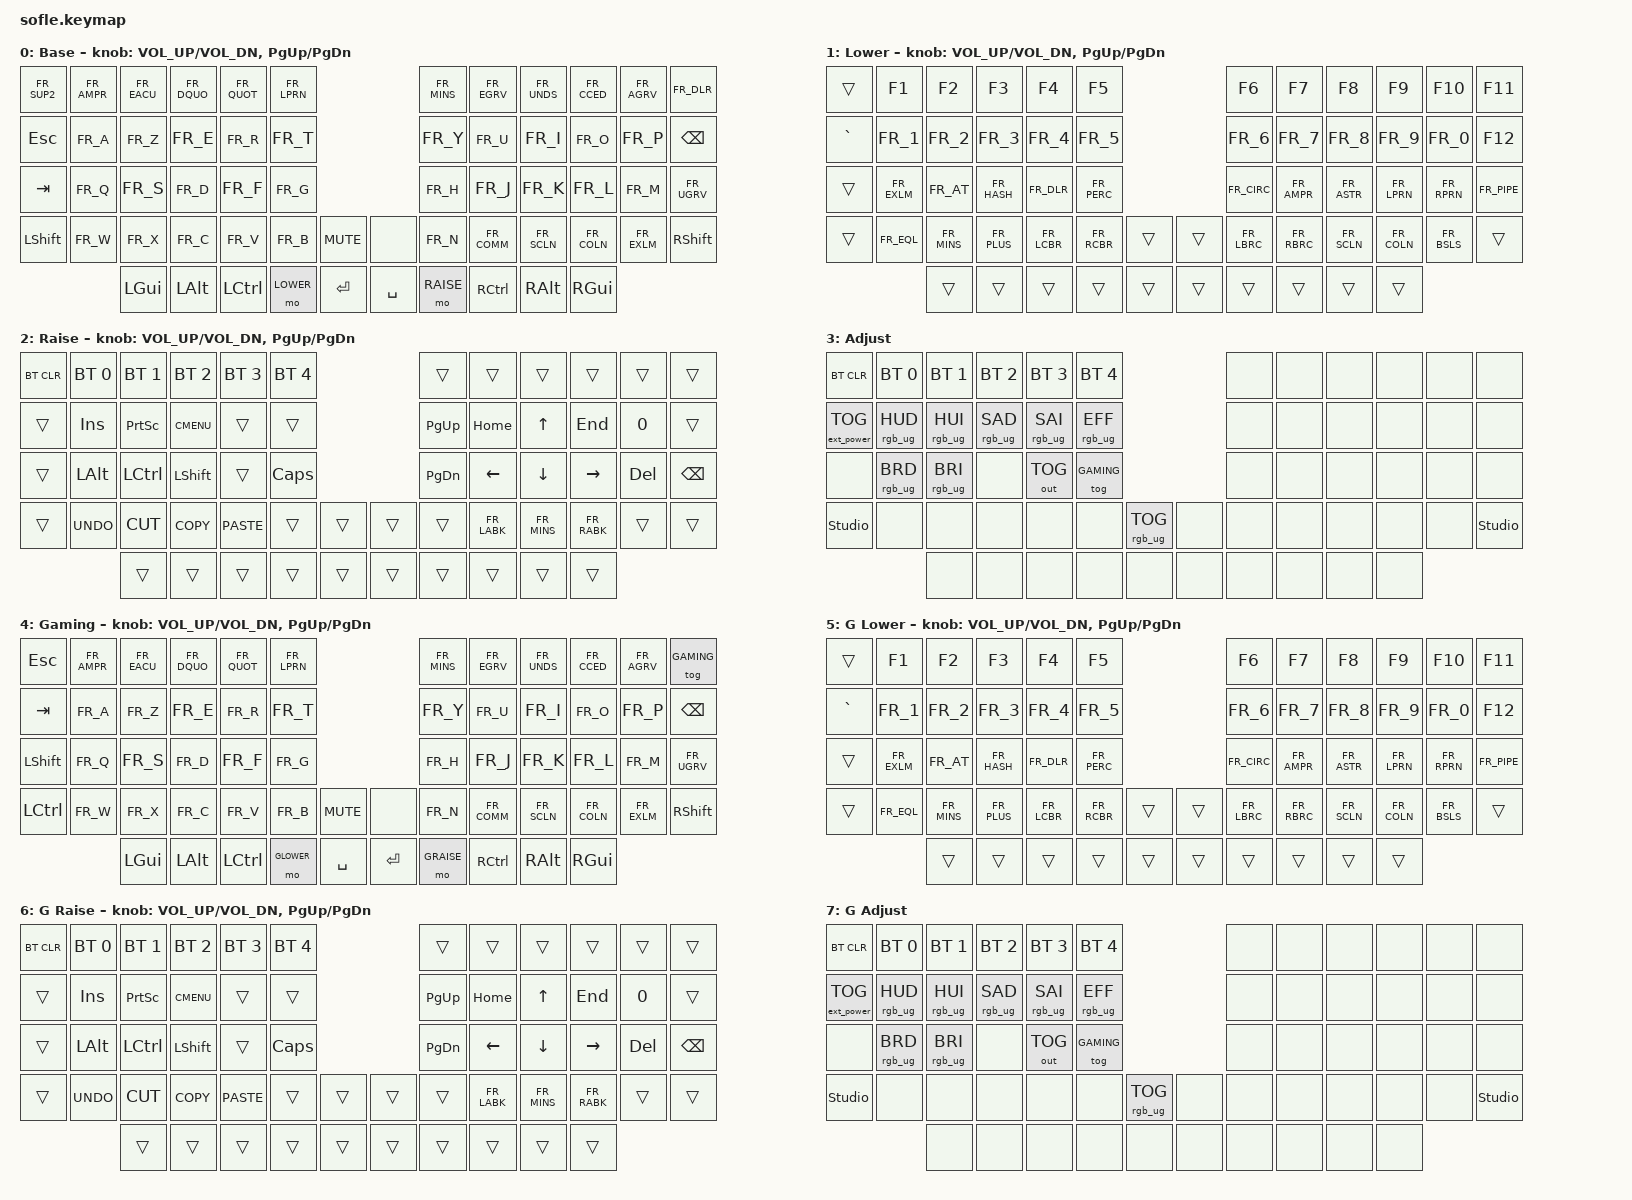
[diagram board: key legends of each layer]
/*
 * Copyright (c) 2020 The ZMK Contributors
 *
 * SPDX-License-Identifier: MIT
 */

#include <behaviors.dtsi>
#include <dt-bindings/zmk/bt.h>
#include <dt-bindings/zmk/ext_power.h>
#include <dt-bindings/zmk/keys.h>
#include <dt-bindings/zmk/rgb.h>
#include <dt-bindings/zmk/outputs.h>

#include "keys_fr.h"

#define BASE 0
#define LOWER 1
#define RAISE 2
#define ADJUST 3
#define GAMING 4
#define GLOWER 5
#define GRAISE 6
#define GADJUST 7

/ {
    // Activate ADJUST layer by pressing raise and lower

    conditional_layers {
        compatible = "zmk,conditional-layers";

        adjust_layer {
            if-layers = <LOWER RAISE>;
            then-layer = <ADJUST>;
        };

        adjust_gaming {
            if-layers = <GLOWER GRAISE>;
            then-layer = <GADJUST>;
        };
    };



    keymap {
        compatible = "zmk,keymap";

        default_layer {
            display-name = "Base";

            // ------------------------------------------------------------------------------------------------------------
            // |   `   |  1  |  2  |  3   |  4   |  5   |                   |  6   |  7    |  8    |  9   |   0   |       |
            // |  ESC  |  A  |  Z  |  E   |  R   |  T   |                   |  Y   |  U    |  I    |  O   |   P   | BKSPC |
            // |  TAB  |  Q  |  S  |  D   |  F   |  G   |                   |  H   |  J    |  K    |  L   |   M   |   '   |
            // | SHIFT |  W  |  X  |  C   |  V   |  B   |  MUTE  |  |       |  N   |  ,    |  ;    |  :   |   !   | SHIFT |
            //               | GUI | ALT  | CTRL | LOWER|  ENTER |  | SPACE | RAISE| CTRL  | ALT   | GUI  |

            bindings = <
&kp FR_SUP2  &kp FR_AMPR  &kp FR_EACU    &kp FR_DQUO    &kp FR_QUOT   &kp FR_LPRN                            &kp FR_MINS  &kp FR_EGRV  &kp FR_UNDS   &kp FR_CCED   &kp FR_AGRV   &kp FR_DLR
&kp ESC      &kp FR_A     &kp FR_Z       &kp FR_E       &kp FR_R      &kp FR_T                               &kp FR_Y     &kp FR_U     &kp FR_I      &kp FR_O      &kp FR_P      &kp BSPC
&kp TAB      &kp FR_Q     &kp FR_S       &kp FR_D       &kp FR_F      &kp FR_G                               &kp FR_H     &kp FR_J     &kp FR_K      &kp FR_L      &kp FR_M      &kp FR_UGRV
&kp LSHFT    &kp FR_W     &kp FR_X       &kp FR_C       &kp FR_V      &kp FR_B      &kp C_MUTE    &none      &kp FR_N     &kp FR_COMM  &kp FR_SCLN   &kp FR_COLN   &kp FR_EXLM   &kp RSHFT
                          &kp LGUI       &kp LALT       &kp LCTRL     &mo LOWER     &kp RET       &kp SPACE  &mo RAISE    &kp RCTRL    &kp RALT      &kp RGUI
            >;

            sensor-bindings = <&inc_dec_kp C_VOL_UP C_VOL_DN &inc_dec_kp PG_UP PG_DN>;
        };

        lower_layer {
            display-name = "Lower";

            // TODO: Some binds are waiting for shifted keycode support.
            // ------------------------------------------------------------------------------------------------------------
            // |       |  F1 |  F2 |  F3  |  F4  |  F5  |                   |  F6  |  F7   |  F8   |  F9  |  F10  |  F11  |
            // |   `   |  1  |  2  |  3   |  4   |  5   |                   |  6   |  7    |  8    |  9   |   0   |  F12  |
            // |       |  !  |  @  |  #   |  $   |  %   |                   |  ^   |  &    |  *    |  (   |   )   |   |   |
            // |       |  =  |  -  |  +   |  {   |  }   |        |  |       |  [   |  ]    |  ;    |  :   |   \   |       |
            //               |     |      |      |      |        |  |       |      |       |       |      |

            bindings = <
&trans      &kp F1       &kp F2       &kp F3       &kp F4       &kp F5                            &kp F6       &kp F7       &kp F8        &kp F9       &kp F10      &kp F11
&kp GRAVE   &kp FR_1     &kp FR_2     &kp FR_3     &kp FR_4     &kp FR_5                          &kp FR_6     &kp FR_7     &kp FR_8      &kp FR_9     &kp FR_0     &kp F12
&trans      &kp FR_EXLM  &kp FR_AT    &kp FR_HASH  &kp FR_DLR   &kp FR_PERC                       &kp FR_CIRC  &kp FR_AMPR  &kp FR_ASTR  &kp FR_LPRN  &kp FR_RPRN  &kp FR_PIPE
&trans      &kp FR_EQL   &kp FR_MINS  &kp FR_PLUS  &kp FR_LCBR  &kp FR_RCBR   &trans    &trans    &kp FR_LBRC  &kp FR_RBRC  &kp FR_SCLN   &kp FR_COLN  &kp FR_BSLS  &trans
                         &trans       &trans       &trans       &trans        &trans    &trans    &trans     &trans    &trans     &trans
            >;

            sensor-bindings = <&inc_dec_kp C_VOL_UP C_VOL_DN &inc_dec_kp PG_UP PG_DN>;
        };

        raise_layer {
            display-name = "Raise";

            // ------------------------------------------------------------------------------------------------------------
            // | BTCLR | BT1  | BT2  |  BT3  |  BT4  |  BT5 |                |      |      |       |      |       |       |
            // |       | INS  | PSCR | GUI   |       |      |                | PGUP | HOME |   ^   | END  |       |       |
            // |       | ALT  | CTRL | SHIFT |       | CAPS |                | PGDN |   <- |   v   |  ->  |  DEL  | BKSPC |
            // |       | UNDO | CUT  | COPY  | PASTE |      |      |  |      |      |   <  |   -   |   >  |       |       |
            //                |      |       |       |      |      |  |      |      |      |       |      |

            bindings = <
&bt BT_CLR  &bt BT_SEL 0  &bt BT_SEL 1  &bt BT_SEL 2  &bt BT_SEL 3  &bt BT_SEL 4                    &trans     &trans       &trans        &trans       &trans   &trans
&trans      &kp INS       &kp PSCRN     &kp K_CMENU   &trans        &trans                          &kp PG_UP  &kp HOME     &kp UP        &kp END      &kp N0   &trans
&trans      &kp LALT      &kp LCTRL     &kp LSHFT     &trans        &kp CLCK                        &kp PG_DN  &kp LEFT     &kp DOWN      &kp RIGHT    &kp DEL  &kp BSPC
&trans      &kp K_UNDO    &kp K_CUT     &kp K_COPY    &kp K_PASTE   &trans        &trans    &trans  &trans     &kp FR_LABK  &kp FR_MINS  &kp FR_RABK  &trans   &trans
                          &trans        &trans        &trans        &trans        &trans    &trans  &trans     &trans    &trans    &trans
            >;

            sensor-bindings = <&inc_dec_kp C_VOL_UP C_VOL_DN &inc_dec_kp PG_UP PG_DN>;
        };

        adjust_layer {
            // ----------------------------------------------------------------------------------------------------------------------------
            // | BTCLR  |  BT1    |  BT2    |   BT3   |   BT4   |   BT5   |                  |      |      |       |      |       |       |
            // | EXTPWR | RGB_HUD | RGB_HUI | RGB_SAD | RGB_SAI | RGB_EFF |                  |      |      |       |      |       |       |
            // |        | RGB_BRD | RGB_BRI |         |         | gaming  |                  |      |      |       |      |       |       |
            // | st unl |         |         |         |         |         | RGB_TOG | |      |      |      |       |      |       | st unl|
            //                    |         |         |         |         |         | |      |      |      |       |      |

            display-name = "Adjust";
            bindings = <
&bt BT_CLR          &bt BT_SEL 0     &bt BT_SEL 1     &bt BT_SEL 2      &bt BT_SEL 3      &bt BT_SEL 4                               &none  &none  &none  &none  &none  &none
&ext_power EP_TOG   &rgb_ug RGB_HUD  &rgb_ug RGB_HUI  &rgb_ug RGB_SAD   &rgb_ug RGB_SAI   &rgb_ug RGB_EFF                            &none  &none  &none  &none  &none  &none
&none               &rgb_ug RGB_BRD  &rgb_ug RGB_BRI  &none             &out OUT_TOG      &tog GAMING                                &none  &none  &none  &none  &none  &none
&studio_unlock      &none            &none            &none             &none             &none            &rgb_ug RGB_TOG    &none  &none  &none  &none  &none  &none  &studio_unlock
                                     &none            &none             &none             &none            &none              &none  &none  &none  &none  &none
            >;
        };


    gaming_layer {
   display-name = "Gaming";

            // ------------------------------------------------------------------------------------------------------------
            // | ESC   |  1  |  2  |  3   |  4   |  5   |                   |  6   |  7    |  8    |  9   |   0   | BASE  |
            // | TAB   |  A  |  Z  |  E   |  R   |  T   |                   |  Y   |  U    |  I    |  O   |   P   | BKSPC |
            // | SHIFT |  Q  |  S  |  D   |  F   |  G   |                   |  H   |  J    |  K    |  L   |   M   |   '   |
            // | CTRL  |  W  |  X  |  C   |  V   |  B   |  MUTE  |  |       |  N   |  ,    |  ;    |  :   |   !   | SHIFT |
            //               | GUI | ALT  | CTRL | GLOWER|  ENTER |  | SPACE | GRAISE| CTRL  | ALT   | GUI  |

            bindings = <
&kp ESC    &kp FR_AMPR  &kp FR_EACU    &kp FR_DQUO    &kp FR_QUOT   &kp FR_LPRN                            &kp FR_MINS  &kp FR_EGRV  &kp FR_UNDS   &kp FR_CCED   &kp FR_AGRV   &tog GAMING
&kp TAB    &kp FR_A     &kp FR_Z       &kp FR_E       &kp FR_R      &kp FR_T                               &kp FR_Y     &kp FR_U     &kp FR_I      &kp FR_O      &kp FR_P      &kp BSPC
&kp LSHFT  &kp FR_Q     &kp FR_S       &kp FR_D       &kp FR_F      &kp FR_G                               &kp FR_H     &kp FR_J     &kp FR_K      &kp FR_L      &kp FR_M      &kp FR_UGRV
&kp LCTRL  &kp FR_W     &kp FR_X       &kp FR_C       &kp FR_V      &kp FR_B      &kp C_MUTE    &none      &kp FR_N     &kp FR_COMM  &kp FR_SCLN   &kp FR_COLN   &kp FR_EXLM   &kp RSHFT
                        &kp LGUI       &kp LALT       &kp LCTRL     &mo GLOWER    &kp SPACE     &kp RET    &mo GRAISE   &kp RCTRL    &kp RALT      &kp RGUI
            >;

            sensor-bindings = <&inc_dec_kp C_VOL_UP C_VOL_DN &inc_dec_kp PG_UP PG_DN>;
        };



        lower_gaming {
            display-name = "G Lower";

            // TODO: Some binds are waiting for shifted keycode support.
            // ------------------------------------------------------------------------------------------------------------
            // |       |  F1 |  F2 |  F3  |  F4  |  F5  |                   |  F6  |  F7   |  F8   |  F9  |  F10  |  F11  |
            // |   `   |  1  |  2  |  3   |  4   |  5   |                   |  6   |  7    |  8    |  9   |   0   |  F12  |
            // |       |  !  |  @  |  #   |  $   |  %   |                   |  ^   |  &    |  *    |  (   |   )   |   |   |
            // |       |  =  |  -  |  +   |  {   |  }   |        |  |       |  [   |  ]    |  ;    |  :   |   \   |       |
            //               |     |      |      |      |        |  |       |      |       |       |      |

            bindings = <
&trans      &kp F1       &kp F2       &kp F3       &kp F4       &kp F5                            &kp F6       &kp F7       &kp F8        &kp F9       &kp F10      &kp F11
&kp GRAVE   &kp FR_1     &kp FR_2     &kp FR_3     &kp FR_4     &kp FR_5                          &kp FR_6     &kp FR_7     &kp FR_8      &kp FR_9     &kp FR_0     &kp F12
&trans      &kp FR_EXLM  &kp FR_AT    &kp FR_HASH  &kp FR_DLR   &kp FR_PERC                       &kp FR_CIRC  &kp FR_AMPR  &kp FR_ASTR  &kp FR_LPRN  &kp FR_RPRN  &kp FR_PIPE
&trans      &kp FR_EQL   &kp FR_MINS  &kp FR_PLUS  &kp FR_LCBR  &kp FR_RCBR   &trans    &trans    &kp FR_LBRC  &kp FR_RBRC  &kp FR_SCLN   &kp FR_COLN  &kp FR_BSLS  &trans
                         &trans       &trans       &trans       &trans        &trans    &trans    &trans     &trans    &trans     &trans
            >;

            sensor-bindings = <&inc_dec_kp C_VOL_UP C_VOL_DN &inc_dec_kp PG_UP PG_DN>;
        };

        raise_gaming {
            display-name = "G Raise";

            // ------------------------------------------------------------------------------------------------------------
            // | BTCLR | BT1  | BT2  |  BT3  |  BT4  |  BT5 |                |      |      |       |      |       |       |
            // |       | INS  | PSCR | GUI   |       |      |                | PGUP | HOME |   ^   | END  |       |       |
            // |       | ALT  | CTRL | SHIFT |       | CAPS |                | PGDN |   <- |   v   |  ->  |  DEL  | BKSPC |
            // |       | UNDO | CUT  | COPY  | PASTE |      |      |  |      |      |   <  |   -   |   >  |       |       |
            //                |      |       |       |      |      |  |      |      |      |       |      |

            bindings = <
&bt BT_CLR  &bt BT_SEL 0  &bt BT_SEL 1  &bt BT_SEL 2  &bt BT_SEL 3  &bt BT_SEL 4                    &trans     &trans       &trans        &trans       &trans   &trans
&trans      &kp INS       &kp PSCRN     &kp K_CMENU   &trans        &trans                          &kp PG_UP  &kp HOME     &kp UP        &kp END      &kp N0   &trans
&trans      &kp LALT      &kp LCTRL     &kp LSHFT     &trans        &kp CLCK                        &kp PG_DN  &kp LEFT     &kp DOWN      &kp RIGHT    &kp DEL  &kp BSPC
&trans      &kp K_UNDO    &kp K_CUT     &kp K_COPY    &kp K_PASTE   &trans        &trans    &trans  &trans     &kp FR_LABK  &kp FR_MINS  &kp FR_RABK  &trans   &trans
                          &trans        &trans        &trans        &trans        &trans    &trans  &trans     &trans    &trans    &trans
            >;

            sensor-bindings = <&inc_dec_kp C_VOL_UP C_VOL_DN &inc_dec_kp PG_UP PG_DN>;
        };

        adjust_gaming {
            // ----------------------------------------------------------------------------------------------------------------------------
            // | BTCLR  |  BT1    |  BT2    |   BT3   |   BT4   |   BT5   |                  |      |      |       |      |       |       |
            // | EXTPWR | RGB_HUD | RGB_HUI | RGB_SAD | RGB_SAI | RGB_EFF |                  |      |      |       |      |       |       |
            // |        | RGB_BRD | RGB_BRI |         |         | gaming  |                  |      |      |       |      |       |       |
            // | st unl |         |         |         |         |         | RGB_TOG | |      |      |      |       |      |       | st unl|
            //                    |         |         |         |         |         | |      |      |      |       |      |

            display-name = "G Adjust";
            bindings = <
&bt BT_CLR          &bt BT_SEL 0     &bt BT_SEL 1     &bt BT_SEL 2      &bt BT_SEL 3      &bt BT_SEL 4                               &none  &none  &none  &none  &none  &none
&ext_power EP_TOG   &rgb_ug RGB_HUD  &rgb_ug RGB_HUI  &rgb_ug RGB_SAD   &rgb_ug RGB_SAI   &rgb_ug RGB_EFF                            &none  &none  &none  &none  &none  &none
&none               &rgb_ug RGB_BRD  &rgb_ug RGB_BRI  &none             &out OUT_TOG      &tog GAMING                                &none  &none  &none  &none  &none  &none
&studio_unlock      &none            &none            &none             &none             &none            &rgb_ug RGB_TOG    &none  &none  &none  &none  &none  &none  &studio_unlock
                                     &none            &none             &none             &none            &none              &none  &none  &none  &none  &none
            >;
        };

    

    };
};
